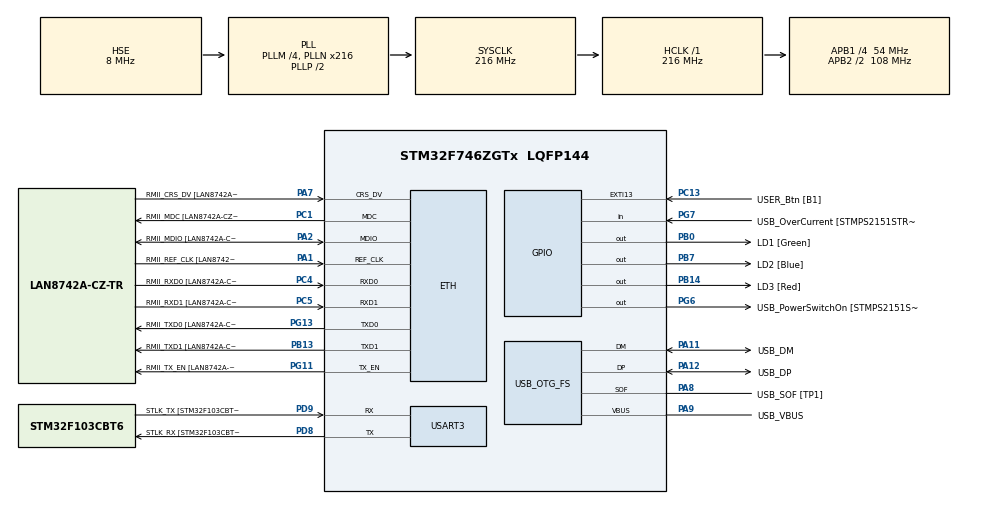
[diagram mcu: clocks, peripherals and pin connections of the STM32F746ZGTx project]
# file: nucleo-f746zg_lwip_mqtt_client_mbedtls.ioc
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ETH.MediaInterface=HAL_ETH_RMII_MODE
ETH.PHY_Name=LAN8742A_PHY_ADDRESS
ETH.PHY_Value=0
ETH.PhyAddress=0
ETH.RxMode=ETH_RXINTERRUPT_MODE
FREERTOS.Tasks01=defaultTask,0,512,StartDefaultTask,Default,NULL,Dynamic,NULL,NULL
FREERTOS.configCHECK_FOR_STACK_OVERFLOW=2
FREERTOS.configENABLE_FPU=1
FREERTOS.configMINIMAL_STACK_SIZE=512
FREERTOS.configTOTAL_HEAP_SIZE=65536
FREERTOS.configUSE_NEWLIB_REENTRANT=1
LWIP.BSP.number=1
LWIP.LWIP_SO_RCVBUF=1
LWIP.Version=v2.1.2_Cube
LWIP0.BSP.STBoard=false
LWIP0.BSP.api=BSP_COMPONENT_DRIVER
LWIP0.BSP.component=LAN8742
LWIP0.BSP.instance=LAN8742
LWIP0.BSP.name=Driver_PHY
LWIP0.BSP.semaphore=S_LAN8742
LWIP0.BSP.solution=LAN8742
MBEDTLS.MBEDTLS_AES_ROM_TABLES=1
MBEDTLS.MBEDTLS_DEBUG_C=1
MBEDTLS.MBEDTLS_ECJPAKE_C=1
MBEDTLS.MBEDTLS_ECP_FIXED_POINT_OPTIM=0
MBEDTLS.MBEDTLS_ECP_FIXED_POINT_OPTIM_ENABLE=1
MBEDTLS.MBEDTLS_ECP_MAX_BITS=384
MBEDTLS.MBEDTLS_ECP_MAX_BITS_ENABLE=1
MBEDTLS.MBEDTLS_ECP_WINDOW_SIZE=2
MBEDTLS.MBEDTLS_ECP_WINDOW_SIZE_ENABLE=1
MBEDTLS.MBEDTLS_ENTROPY_FORCE_SHA256=1
MBEDTLS.MBEDTLS_ENTROPY_MAX_SOURCES=2
MBEDTLS.MBEDTLS_ENTROPY_MAX_SOURCES_ENABLE=1
MBEDTLS.MBEDTLS_HAVE_TIME_DATE=0
MBEDTLS.MBEDTLS_KEY_EXCHANGE_ECJPAKE_ENABLED=1
MBEDTLS.MBEDTLS_MPI_MAX_SIZE=512
MBEDTLS.MBEDTLS_MPI_MAX_SIZE_ENABLE=1
MBEDTLS.MBEDTLS_PLATFORM_MEMORY=1
MBEDTLS.MBEDTLS_PLATFORM_PRINTF_MACRO_ENABLE=1
MBEDTLS.MBEDTLS_SSL_CIPHERSUITES=MBEDTLS_TLS_ECDHE_ECDSA_WITH_AES_256_GCM_SHA384,MBEDTLS_TLS_ECDHE_ECDSA_WITH_AES_128_GCM_SHA256,MBEDTLS_TLS_ECDHE_RSA_WITH_AES_128_GCM_SHA256
MBEDTLS.MBEDTLS_SSL_CIPHERSUITES_ENABLE=1
MBEDTLS.MBEDTLS_SSL_MAX_CONTENT_LEN=4096
MBEDTLS.MBEDTLS_SSL_MAX_CONTENT_LEN_ENABLE=1
MBEDTLS.MBEDTLS_SSL_SRV_RESPECT_CLIENT_PREFERENCE=1
Mcu.Family=STM32F7
Mcu.Name=STM32F746ZGTx
Mcu.Package=LQFP144
NVIC.ETH_IRQn=true\:5\:0\:false\:false\:true\:true\:false\:true\:true
NVIC.PriorityGroup=NVIC_PRIORITYGROUP_4
NVIC.TIM7_IRQn=true\:15\:0\:false\:false\:true\:false\:false\:true\:true
NVIC.TimeBase=TIM7_IRQn
NVIC.TimeBaseIP=TIM7
PA1.GPIO_Label=RMII_REF_CLK [LAN8742A-CZ-TR_REFCLK0]
PA1.Mode=RMII
PA1.Signal=ETH_REF_CLK
PA10.GPIO_Label=USB_ID
PA10.Signal=USB_OTG_FS_ID
PA11.GPIO_Label=USB_DM
PA11.Mode=Device_Only
PA11.Signal=USB_OTG_FS_DM
PA12.GPIO_Label=USB_DP
PA12.Mode=Device_Only
PA12.Signal=USB_OTG_FS_DP
PA13.GPIO_Label=TMS
PA13.Mode=Trace_Asynchronous_SW
PA13.Signal=SYS_JTMS-SWDIO
PA14.GPIO_Label=TCK
PA14.Mode=Trace_Asynchronous_SW
PA14.Signal=SYS_JTCK-SWCLK
PA2.GPIO_Label=RMII_MDIO [LAN8742A-CZ-TR_MDIO]
PA2.Mode=RMII
PA2.Signal=ETH_MDIO
PA7.GPIO_Label=RMII_CRS_DV [LAN8742A-CZ-TR_CRS_DV]
PA7.Mode=RMII
PA7.Signal=ETH_CRS_DV
PA8.GPIO_Label=USB_SOF [TP1]
PA8.Mode=Activate_SOF_FS
PA8.Signal=USB_OTG_FS_SOF
PA9.GPIO_Label=USB_VBUS
PA9.Mode=Activate_VBUS
PA9.Signal=USB_OTG_FS_VBUS
PB0.GPIO_Label=LD1 [Green]
PB0.Signal=GPIO_Output
PB13.GPIO_Label=RMII_TXD1 [LAN8742A-CZ-TR_TXD1]
PB13.Mode=RMII
PB13.Signal=ETH_TXD1
PB14.GPIO_Label=LD3 [Red]
PB14.Signal=GPIO_Output
PB3.GPIO_Label=SW0
PB3.Mode=Trace_Asynchronous_SW
PB3.Signal=SYS_JTDO-SWO
PB7.GPIO_Label=LD2 [Blue]
PB7.Signal=GPIO_Output
PC1.GPIO_Label=RMII_MDC [LAN8742A-CZ-TR_MDC]
PC1.Mode=RMII
PC1.Signal=ETH_MDC
PC13.GPIO_Label=USER_Btn [B1]
PC13.Signal=GPXTI13
PC14/OSC32_IN.Mode=LSE-External-Oscillator
PC14/OSC32_IN.Signal=RCC_OSC32_IN
PC15/OSC32_OUT.Mode=LSE-External-Oscillator
PC15/OSC32_OUT.Signal=RCC_OSC32_OUT
PC4.GPIO_Label=RMII_RXD0 [LAN8742A-CZ-TR_RXD0]
PC4.Mode=RMII
PC4.Signal=ETH_RXD0
PC5.GPIO_Label=RMII_RXD1 [LAN8742A-CZ-TR_RXD1]
PC5.Mode=RMII
PC5.Signal=ETH_RXD1
PD8.GPIO_Label=STLK_RX [STM32F103CBT6_PA3]
PD8.Mode=Asynchronous
PD8.Signal=USART3_TX
PD9.GPIO_Label=STLK_TX [STM32F103CBT6_PA2]
PD9.Mode=Asynchronous
PD9.Signal=USART3_RX
PG11.GPIO_Label=RMII_TX_EN [LAN8742A-CZ-TR_TXEN]
PG11.Mode=RMII
PG11.Signal=ETH_TX_EN
PG13.GPIO_Label=RMII_TXD0 [LAN8742A-CZ-TR_TXD0]
PG13.Mode=RMII
PG13.Signal=ETH_TXD0
PG6.GPIO_Label=USB_PowerSwitchOn [STMPS2151STR_EN]
PG6.Signal=GPIO_Output
PG7.GPIO_Label=USB_OverCurrent [STMPS2151STR_FAULT]
PG7.Signal=GPIO_Input
PH0/OSC_IN.GPIO_Label=MCO [STM32F103CBT6_PA8]
PH0/OSC_IN.Mode=HSE-External-Clock-Source
PH0/OSC_IN.Signal=RCC_OSC_IN
PH1/OSC_OUT.Mode=HSE-External-Clock-Source
PH1/OSC_OUT.Signal=RCC_OSC_OUT
ProjectManager.HeapSize=0x200
ProjectManager.StackSize=0x400
ProjectManager.TargetToolchain=STM32CubeIDE
RCC.48MHZClocksFreq_Value=24000000
RCC.AHBFreq_Value=216000000
RCC.APB1CLKDivider=RCC_HCLK_DIV4
RCC.APB1Freq_Value=54000000
RCC.APB1TimFreq_Value=108000000
RCC.APB2CLKDivider=RCC_HCLK_DIV2
RCC.APB2Freq_Value=108000000
RCC.APB2TimFreq_Value=216000000
RCC.CortexFreq_Value=216000000
RCC.HCLKFreq_Value=216000000
RCC.HSE_VALUE=8000000
RCC.HSI_VALUE=16000000
RCC.PLLM=4
RCC.PLLMUL=RCC_PLL_MUL9
RCC.PLLN=216
RCC.PLLQ=9
RCC.PRESCALERUSB=RCC_USBCLKSOURCE_PLL_DIV1_5
RCC.SYSCLKFreq_VALUE=216000000
RCC.SYSCLKSource=RCC_SYSCLKSOURCE_PLLCLK
RCC.SYSCLKSourceVirtual=RCC_SYSCLKSOURCE_PLLCLK
RCC.USBFreq_Value=48000000
RCC.VCOOutputFreq_Value=432000000
USART3.VirtualMode-Asynchronous=VM_ASYNC
USB_OTG_FS.VirtualMode=Device_Only
VP_FREERTOS_VS_CMSIS_V1.Mode=CMSIS_V1
VP_LWIP_VS_Enabled.Mode=Enabled
VP_MBEDTLS_VS_MBEDTLS.Mode=Enabled
VP_RNG_VS_RNG.Mode=RNG_Activate
VP_SYS_VS_tim7.Mode=TIM7
board=NUCLEO-F746ZG

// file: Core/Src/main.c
/* USER CODE BEGIN Header */
/**
  ******************************************************************************
  * @file           : main.c
  * @brief          : Main program body
  ******************************************************************************
  * @attention
  *
  * Copyright (c) 2022 STMicroelectronics.
  * All rights reserved.
  *
  * This software is licensed under terms that can be found in the LICENSE file
  * in the root directory of this software component.
  * If no LICENSE file comes with this software, it is provided AS-IS.
  *
  ******************************************************************************
  */
/* USER CODE END Header */
#include "main.h"
#include "cmsis_os.h"
#include "mbedtls.h"
#include "rng.h"
#include "usart.h"
#include "usb_otg.h"
#include "gpio.h"

/* USER CODE BEGIN PV */
extern uint32_t MilliTimer;
/* USER CODE END PV */

void SystemClock_Config(void);
void MX_FREERTOS_Init(void);

/* USER CODE BEGIN 0 */
int _write(int file, char *ptr, int len)
{
  int DataIdx;

  for (DataIdx = 0; DataIdx < len; DataIdx++)
  {
    ITM_SendChar(*ptr++);
  }
  return len;
}
/* USER CODE END 0 */

int main(void)
{

  /* MCU Configuration--------------------------------------------------------*/

  /* Reset of all peripherals, Initializes the Flash interface and the Systick. */
  HAL_Init();

  /* Configure the system clock */
  SystemClock_Config();

  /* Initialize all configured peripherals */
  MX_GPIO_Init();
  MX_USART3_UART_Init();
  MX_USB_OTG_FS_PCD_Init();
  MX_RNG_Init();
  /* Call PreOsInit function */
//  MX_MBEDTLS_Init();
  /* USER CODE BEGIN 2 */
  printf("Don't remove this printf to prevent hard fault.\r\n");
  /* USER CODE END 2 */

  /* Call init function for freertos objects (in freertos.c) */
  MX_FREERTOS_Init();

  /* Start scheduler */
  osKernelStart();

  /* We should never get here as control is now taken by the scheduler */
  /* Infinite loop */
  while (1)
  {

  }
}

void SystemClock_Config(void)
{
  RCC_OscInitTypeDef RCC_OscInitStruct = {0};
  RCC_ClkInitTypeDef RCC_ClkInitStruct = {0};

  /** Configure LSE Drive Capability
  */
  HAL_PWR_EnableBkUpAccess();

  /** Configure the main internal regulator output voltage
  */
  __HAL_RCC_PWR_CLK_ENABLE();
  __HAL_PWR_VOLTAGESCALING_CONFIG(PWR_REGULATOR_VOLTAGE_SCALE1);

  /** Initializes the RCC Oscillators according to the specified parameters
  * in the RCC_OscInitTypeDef structure.
  */
  RCC_OscInitStruct.OscillatorType = RCC_OSCILLATORTYPE_HSE;
  RCC_OscInitStruct.HSEState = RCC_HSE_BYPASS;
  RCC_OscInitStruct.PLL.PLLState = RCC_PLL_ON;
  RCC_OscInitStruct.PLL.PLLSource = RCC_PLLSOURCE_HSE;
  RCC_OscInitStruct.PLL.PLLM = 4;
  RCC_OscInitStruct.PLL.PLLN = 216;
  RCC_OscInitStruct.PLL.PLLP = RCC_PLLP_DIV2;
  RCC_OscInitStruct.PLL.PLLQ = 9;
  if (HAL_RCC_OscConfig(&RCC_OscInitStruct) != HAL_OK)
  {
    Error_Handler();
  }

  /** Activate the Over-Drive mode
  */
  if (HAL_PWREx_EnableOverDrive() != HAL_OK)
  {
    Error_Handler();
  }

  /** Initializes the CPU, AHB and APB buses clocks
  */
  RCC_ClkInitStruct.ClockType = RCC_CLOCKTYPE_HCLK|RCC_CLOCKTYPE_SYSCLK
                              |RCC_CLOCKTYPE_PCLK1|RCC_CLOCKTYPE_PCLK2;
  RCC_ClkInitStruct.SYSCLKSource = RCC_SYSCLKSOURCE_PLLCLK;
  RCC_ClkInitStruct.AHBCLKDivider = RCC_SYSCLK_DIV1;
  RCC_ClkInitStruct.APB1CLKDivider = RCC_HCLK_DIV4;
  RCC_ClkInitStruct.APB2CLKDivider = RCC_HCLK_DIV2;

  if (HAL_RCC_ClockConfig(&RCC_ClkInitStruct, FLASH_LATENCY_7) != HAL_OK)
  {
    Error_Handler();
  }
}

void HAL_TIM_PeriodElapsedCallback(TIM_HandleTypeDef *htim)
{
  if (htim->Instance == TIM7) {
    HAL_IncTick();
  }
  /* USER CODE BEGIN Callback 1 */
  if (htim->Instance == TIM7) {
    MilliTimer++;
  }
  /* USER CODE END Callback 1 */
}

void Error_Handler(void)
{
  __disable_irq();
  while (1)
  {
  }
}

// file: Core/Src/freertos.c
/* USER CODE BEGIN Header */
/**
  ******************************************************************************
  * File Name          : freertos.c
  * Description        : Code for freertos applications
  ******************************************************************************
  * @attention
  *
  * Copyright (c) 2022 STMicroelectronics.
  * All rights reserved.
  *
  * This software is licensed under terms that can be found in the LICENSE file
  * in the root directory of this software component.
  * If no LICENSE file comes with this software, it is provided AS-IS.
  *
  ******************************************************************************
  */
/* USER CODE END Header */

#include "FreeRTOS.h"
#include "task.h"
#include "main.h"
#include "cmsis_os.h"

/* USER CODE BEGIN Includes */
#include <string.h>
#include "lwip.h"
#include "lwip/api.h"
#include "MQTTClient.h"
#include "MQTTInterface.h"
#include "MQTTTask.h"
/* USER CODE END Includes */

/* USER CODE BEGIN Variables */
extern struct netif gnetif; //extern gnetif

extern osThreadId mqttClientSubTaskHandle;  //mqtt client task handle
extern osThreadId mqttClientPubTaskHandle;  //mqtt client task handle
/* USER CODE END Variables */
osThreadId defaultTaskHandle;

void StartDefaultTask(void const * argument);

extern void MX_LWIP_Init(void);
void MX_FREERTOS_Init(void); /* (MISRA C 2004 rule 8.1) */

/* GetIdleTaskMemory prototype (linked to static allocation support) */
void vApplicationGetIdleTaskMemory( StaticTask_t **ppxIdleTaskTCBBuffer, StackType_t **ppxIdleTaskStackBuffer, uint32_t *pulIdleTaskStackSize );

/* Hook prototypes */
void vApplicationStackOverflowHook(xTaskHandle xTask, signed char *pcTaskName);

/* USER CODE BEGIN 4 */
__weak void vApplicationStackOverflowHook(xTaskHandle xTask, signed char *pcTaskName)
{
   /* Run time stack overflow checking is performed if
   configCHECK_FOR_STACK_OVERFLOW is defined to 1 or 2. This hook function is
   called if a stack overflow is detected. */
  HAL_GPIO_WritePin(LD3_GPIO_Port, LD3_Pin, GPIO_PIN_SET); //turn on red led when detects stack overflow
}
/* USER CODE END 4 */

/* USER CODE BEGIN GET_IDLE_TASK_MEMORY */
static StaticTask_t xIdleTaskTCBBuffer;
static StackType_t xIdleStack[configMINIMAL_STACK_SIZE];

void vApplicationGetIdleTaskMemory( StaticTask_t **ppxIdleTaskTCBBuffer, StackType_t **ppxIdleTaskStackBuffer, uint32_t *pulIdleTaskStackSize )
{
  *ppxIdleTaskTCBBuffer = &xIdleTaskTCBBuffer;
  *ppxIdleTaskStackBuffer = &xIdleStack[0];
  *pulIdleTaskStackSize = configMINIMAL_STACK_SIZE;
  /* place for user code */
}
/* USER CODE END GET_IDLE_TASK_MEMORY */

void MX_FREERTOS_Init(void) {

  /* Create the thread(s) */
  /* definition and creation of defaultTask */
  osThreadDef(defaultTask, StartDefaultTask, osPriorityNormal, 0, 512);
  defaultTaskHandle = osThreadCreate(osThread(defaultTask), NULL);

}

void StartDefaultTask(void const * argument)
{
  /* USER CODE BEGIN StartDefaultTask */
  MX_LWIP_Init();

  while(1)
  {
    //waiting for valid ip address
    if (gnetif.ip_addr.addr == 0 || gnetif.netmask.addr == 0 || gnetif.gw.addr == 0) //system has no valid ip address
    {
      osDelay(1000);
      continue;
    }
    else
    {
      printf("DHCP/Static IP O.K.\n");
      break;
    }
  }

  osThreadDef(mqttClientSubTask, MqttClientSubTask, osPriorityNormal, 0, configMINIMAL_STACK_SIZE*4); //subscribe task
  osThreadDef(mqttClientPubTask, MqttClientPubTask, osPriorityNormal, 0, configMINIMAL_STACK_SIZE*4); //publish task
  mqttClientSubTaskHandle = osThreadCreate(osThread(mqttClientSubTask), NULL);
  mqttClientPubTaskHandle = osThreadCreate(osThread(mqttClientPubTask), NULL);

  /* Infinite loop */
  for(;;)
  {
    HAL_GPIO_TogglePin(LD2_GPIO_Port, LD2_Pin); //toggle running led
    osDelay(500);
  }
  /* USER CODE END StartDefaultTask */
}
